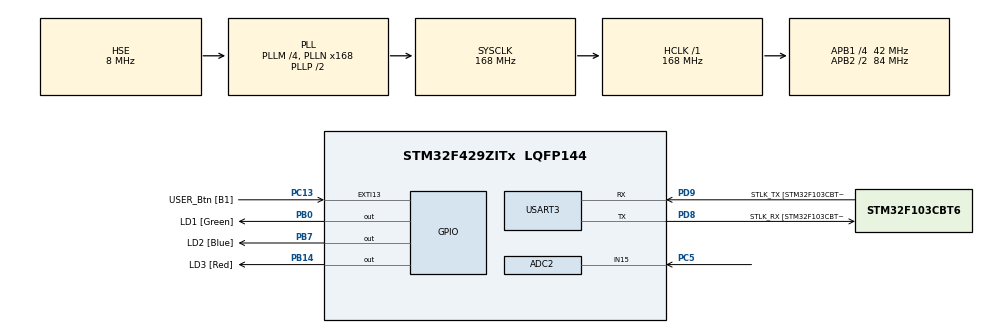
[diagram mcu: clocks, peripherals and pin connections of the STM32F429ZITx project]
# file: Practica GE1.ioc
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ADC2.Channel-0\#ChannelRegularConversion=ADC_CHANNEL_15
ADC2.NbrOfConversionFlag=1
ADC2.Rank-0\#ChannelRegularConversion=1
ADC2.SamplingTime-0\#ChannelRegularConversion=ADC_SAMPLETIME_3CYCLES
Mcu.Family=STM32F4
Mcu.Name=STM32F429ZITx
Mcu.Package=LQFP144
NVIC.PriorityGroup=NVIC_PRIORITYGROUP_4
PA12.GPIO_Label=USB_DP
PA12.Signal=USB_OTG_FS_DP
PA13.GPIO_Label=TMS
PA13.Mode=Serial_Wire
PA13.Signal=SYS_JTMS-SWDIO
PA14.GPIO_Label=TCK
PA14.Mode=Serial_Wire
PA14.Signal=SYS_JTCK-SWCLK
PB0.GPIO_Label=LD1 [Green]
PB0.Signal=GPIO_Output
PB14.GPIO_Label=LD3 [Red]
PB14.Signal=GPIO_Output
PB7.GPIO_Label=LD2 [Blue]
PB7.Signal=GPIO_Output
PC13.GPIO_Label=USER_Btn [B1]
PC13.Signal=GPXTI13
PC14/OSC32_IN.Mode=LSE-External-Oscillator
PC14/OSC32_IN.Signal=RCC_OSC32_IN
PC15/OSC32_OUT.Mode=LSE-External-Oscillator
PC15/OSC32_OUT.Signal=RCC_OSC32_OUT
PC5.Signal=ADCx_IN15
PD8.GPIO_Label=STLK_RX [STM32F103CBT6_PA3]
PD8.Mode=Asynchronous
PD8.Signal=USART3_TX
PD9.GPIO_Label=STLK_TX [STM32F103CBT6_PA2]
PD9.Mode=Asynchronous
PD9.Signal=USART3_RX
PH0/OSC_IN.GPIO_Label=MCO [STM32F103CBT6_PA8]
PH0/OSC_IN.Mode=HSE-External-Clock-Source
PH0/OSC_IN.Signal=RCC_OSC_IN
PH1/OSC_OUT.Mode=HSE-External-Clock-Source
PH1/OSC_OUT.Signal=RCC_OSC_OUT
ProjectManager.HeapSize=0x200
ProjectManager.StackSize=0x400
ProjectManager.TargetToolchain=STM32CubeIDE
RCC.48MHZClocksFreq_Value=48000000
RCC.AHBFreq_Value=168000000
RCC.APB1CLKDivider=RCC_HCLK_DIV4
RCC.APB1Freq_Value=42000000
RCC.APB1TimFreq_Value=84000000
RCC.APB2CLKDivider=RCC_HCLK_DIV2
RCC.APB2Freq_Value=84000000
RCC.APB2TimCLKDivider=2
RCC.APB2TimFreq_Value=168000000
RCC.CortexFreq_Value=168000000
RCC.HCLKFreq_Value=168000000
RCC.HSE_VALUE=8000000
RCC.HSI_VALUE=16000000
RCC.PLLM=4
RCC.PLLMUL=RCC_PLL_MUL9
RCC.PLLN=168
RCC.PLLQ=7
RCC.PLLSourceVirtual=RCC_PLLSOURCE_HSE
RCC.PRESCALERUSB=RCC_USBCLKSOURCE_PLL_DIV1_5
RCC.SYSCLKFreq_VALUE=168000000
RCC.SYSCLKSource=RCC_SYSCLKSOURCE_PLLCLK
RCC.SYSCLKSourceVirtual=RCC_SYSCLKSOURCE_PLLCLK
RCC.USBFreq_Value=48000000
RCC.VCOOutputFreq_Value=336000000
SH.ADCx_IN15.0=ADC2_IN15,IN15
USART3.VirtualMode=VM_ASYNC
board=NUCLEO-F429ZI

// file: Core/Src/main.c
/* USER CODE BEGIN Header */
/**
  ******************************************************************************
  * @file           : main.c
  * @brief          : Main program body
  ******************************************************************************
  * @attention
  *
  * Copyright (c) 2024 STMicroelectronics.
  * All rights reserved.
  *
  * This software is licensed under terms that can be found in the LICENSE file
  * in the root directory of this software component.
  * If no LICENSE file comes with this software, it is provided AS-IS.
  *
  ******************************************************************************
  */
/* USER CODE END Header */
#include "main.h"

/* USER CODE BEGIN Includes */
#include "functions.h"
/* USER CODE END Includes */

ADC_HandleTypeDef hadc2;

UART_HandleTypeDef huart3;

void SystemClock_Config(void);
static void MX_GPIO_Init(void);
static void MX_USART3_UART_Init(void);
static void MX_ADC2_Init(void);

int main(void)
{

  /* USER CODE BEGIN 1 */

    /* ----------- Ejercicio 1 ----------- */
    uint16_t esc32 = 6;
    uint32_t vec32[] = {1, 2, 3, 4, 5};

    uint32_t lon32 = sizeof(vec32)/sizeof(vec32[0]);
    uint32_t vecOut32_1[lon32], vecOut32_2[lon32];

    productoEscalar32(vec32, vecOut32_1, lon32, esc32);
    asm_productoEscalar32(vec32, vecOut32_2, lon32, esc32);

    /* ----------- Ejercicio 1 ----------- */

    /* ----------- Ejercicio 2 ----------- */
    uint16_t esc16 = 6;
    uint16_t vec16[] = {1, 2, 3, 4, 5000};

    uint16_t lon16 = sizeof(vec16)/sizeof(vec16[0]);
    uint16_t vecOut16_1[lon16], vecOut16_2[lon16];

    productoEscalar16(vec16, vecOut16_1, lon16, esc16);
    asm_productoEscalar16(vec16, vecOut16_2, lon16, esc16);

    /* ----------- Ejercicio 2 ----------- */

    /* ----------- Ejercicio 3 ----------- */
    uint32_t a3 = 1023;
    uint32_t b3 = bitfield_clear(a3, 5, 3);
    uint32_t c3 = asm_bitfield_clear(a3, 5, 3);
    /* ----------- Ejercicio 3 ----------- */

    /* ----------- Ejercicio 4 ----------- */
    uint32_t a4 = 947;
    uint32_t b4 = bitfield_toggle(a4, 6, 2);
    uint32_t c4 = asm_bitfield_toggle(a4, 6, 2);
    /* ----------- Ejercicio 4 ----------- */

  /* USER CODE END 1 */

  /* MCU Configuration--------------------------------------------------------*/

  /* Reset of all peripherals, Initializes the Flash interface and the Systick. */
  HAL_Init();

  /* Configure the system clock */
  SystemClock_Config();

  /* Initialize all configured peripherals */
  MX_GPIO_Init();
  MX_USART3_UART_Init();
  MX_ADC2_Init();

  /* Infinite loop */
  while (1)
  {

  }
}

void SystemClock_Config(void)
{
  RCC_OscInitTypeDef RCC_OscInitStruct = {0};
  RCC_ClkInitTypeDef RCC_ClkInitStruct = {0};

  /** Configure the main internal regulator output voltage
  */
  __HAL_RCC_PWR_CLK_ENABLE();
  __HAL_PWR_VOLTAGESCALING_CONFIG(PWR_REGULATOR_VOLTAGE_SCALE1);

  /** Initializes the RCC Oscillators according to the specified parameters
  * in the RCC_OscInitTypeDef structure.
  */
  RCC_OscInitStruct.OscillatorType = RCC_OSCILLATORTYPE_HSE;
  RCC_OscInitStruct.HSEState = RCC_HSE_BYPASS;
  RCC_OscInitStruct.PLL.PLLState = RCC_PLL_ON;
  RCC_OscInitStruct.PLL.PLLSource = RCC_PLLSOURCE_HSE;
  RCC_OscInitStruct.PLL.PLLM = 4;
  RCC_OscInitStruct.PLL.PLLN = 168;
  RCC_OscInitStruct.PLL.PLLP = RCC_PLLP_DIV2;
  RCC_OscInitStruct.PLL.PLLQ = 7;
  if (HAL_RCC_OscConfig(&RCC_OscInitStruct) != HAL_OK)
  {
    Error_Handler();
  }

  /** Initializes the CPU, AHB and APB buses clocks
  */
  RCC_ClkInitStruct.ClockType = RCC_CLOCKTYPE_HCLK|RCC_CLOCKTYPE_SYSCLK
                              |RCC_CLOCKTYPE_PCLK1|RCC_CLOCKTYPE_PCLK2;
  RCC_ClkInitStruct.SYSCLKSource = RCC_SYSCLKSOURCE_PLLCLK;
  RCC_ClkInitStruct.AHBCLKDivider = RCC_SYSCLK_DIV1;
  RCC_ClkInitStruct.APB1CLKDivider = RCC_HCLK_DIV4;
  RCC_ClkInitStruct.APB2CLKDivider = RCC_HCLK_DIV2;

  if (HAL_RCC_ClockConfig(&RCC_ClkInitStruct, FLASH_LATENCY_5) != HAL_OK)
  {
    Error_Handler();
  }
}

static void MX_ADC2_Init(void)
{

  ADC_ChannelConfTypeDef sConfig = {0};

  /** Configure the global features of the ADC (Clock, Resolution, Data Alignment and number of conversion)
  */
  hadc2.Instance = ADC2;
  hadc2.Init.ClockPrescaler = ADC_CLOCK_SYNC_PCLK_DIV4;
  hadc2.Init.Resolution = ADC_RESOLUTION_12B;
  hadc2.Init.ScanConvMode = DISABLE;
  hadc2.Init.ContinuousConvMode = DISABLE;
  hadc2.Init.DiscontinuousConvMode = DISABLE;
  hadc2.Init.ExternalTrigConvEdge = ADC_EXTERNALTRIGCONVEDGE_NONE;
  hadc2.Init.ExternalTrigConv = ADC_SOFTWARE_START;
  hadc2.Init.DataAlign = ADC_DATAALIGN_RIGHT;
  hadc2.Init.NbrOfConversion = 1;
  hadc2.Init.DMAContinuousRequests = DISABLE;
  hadc2.Init.EOCSelection = ADC_EOC_SINGLE_CONV;
  if (HAL_ADC_Init(&hadc2) != HAL_OK)
  {
    Error_Handler();
  }

  /** Configure for the selected ADC regular channel its corresponding rank in the sequencer and its sample time.
  */
  sConfig.Channel = ADC_CHANNEL_15;
  sConfig.Rank = 1;
  sConfig.SamplingTime = ADC_SAMPLETIME_3CYCLES;
  if (HAL_ADC_ConfigChannel(&hadc2, &sConfig) != HAL_OK)
  {
    Error_Handler();
  }

}

static void MX_USART3_UART_Init(void)
{

  huart3.Instance = USART3;
  huart3.Init.BaudRate = 115200;
  huart3.Init.WordLength = UART_WORDLENGTH_8B;
  huart3.Init.StopBits = UART_STOPBITS_1;
  huart3.Init.Parity = UART_PARITY_NONE;
  huart3.Init.Mode = UART_MODE_TX_RX;
  huart3.Init.HwFlowCtl = UART_HWCONTROL_NONE;
  huart3.Init.OverSampling = UART_OVERSAMPLING_16;
  if (HAL_UART_Init(&huart3) != HAL_OK)
  {
    Error_Handler();
  }

}

static void MX_GPIO_Init(void)
{
  GPIO_InitTypeDef GPIO_InitStruct = {0};

  /* GPIO Ports Clock Enable */
  __HAL_RCC_GPIOC_CLK_ENABLE();
  __HAL_RCC_GPIOH_CLK_ENABLE();
  __HAL_RCC_GPIOB_CLK_ENABLE();
  __HAL_RCC_GPIOD_CLK_ENABLE();
  __HAL_RCC_GPIOA_CLK_ENABLE();

  /*Configure GPIO pin Output Level */
  HAL_GPIO_WritePin(GPIOB, LD1_Pin|LD3_Pin|LD2_Pin, GPIO_PIN_RESET);

  /*Configure GPIO pin : USER_Btn_Pin */
  GPIO_InitStruct.Pin = USER_Btn_Pin;
  GPIO_InitStruct.Mode = GPIO_MODE_IT_RISING;
  GPIO_InitStruct.Pull = GPIO_NOPULL;
  HAL_GPIO_Init(USER_Btn_GPIO_Port, &GPIO_InitStruct);

  /*Configure GPIO pins : LD1_Pin LD3_Pin LD2_Pin */
  GPIO_InitStruct.Pin = LD1_Pin|LD3_Pin|LD2_Pin;
  GPIO_InitStruct.Mode = GPIO_MODE_OUTPUT_PP;
  GPIO_InitStruct.Pull = GPIO_NOPULL;
  GPIO_InitStruct.Speed = GPIO_SPEED_FREQ_LOW;
  HAL_GPIO_Init(GPIOB, &GPIO_InitStruct);

  /*Configure GPIO pin : USB_DP_Pin */
  GPIO_InitStruct.Pin = USB_DP_Pin;
  GPIO_InitStruct.Mode = GPIO_MODE_AF_PP;
  GPIO_InitStruct.Pull = GPIO_NOPULL;
  GPIO_InitStruct.Speed = GPIO_SPEED_FREQ_VERY_HIGH;
  GPIO_InitStruct.Alternate = GPIO_AF10_OTG_FS;
  HAL_GPIO_Init(USB_DP_GPIO_Port, &GPIO_InitStruct);

}

void Error_Handler(void)
{
  __disable_irq();
  while (1)
  {
  }
}
